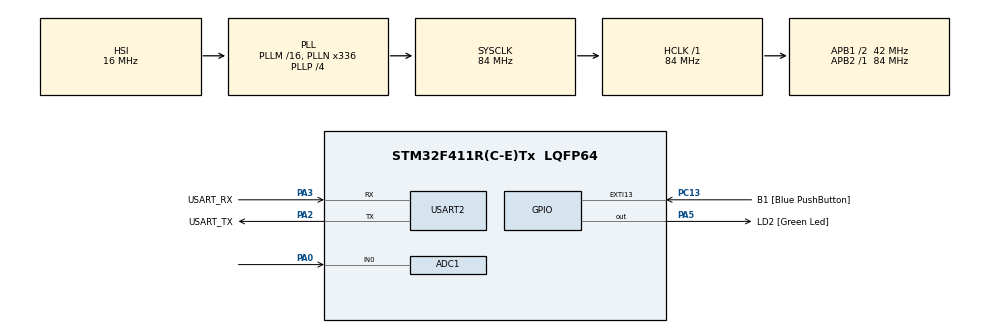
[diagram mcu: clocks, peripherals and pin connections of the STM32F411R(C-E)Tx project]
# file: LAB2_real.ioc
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ADC1.Channel-0\#ChannelRegularConversion=ADC_CHANNEL_0
ADC1.Channel-1\#ChannelRegularConversion=ADC_CHANNEL_TEMPSENSOR
ADC1.ContinuousConvMode=ENABLE
ADC1.DMAContinuousRequests=ENABLE
ADC1.EOCSelection=ADC_EOC_SEQ_CONV
ADC1.NbrOfConversion=2
ADC1.NbrOfConversionFlag=1
ADC1.Rank-0\#ChannelRegularConversion=1
ADC1.Rank-1\#ChannelRegularConversion=2
ADC1.SamplingTime-0\#ChannelRegularConversion=ADC_SAMPLETIME_56CYCLES
ADC1.SamplingTime-1\#ChannelRegularConversion=ADC_SAMPLETIME_56CYCLES
ADC1.ScanConvMode=ENABLE
ADC1.master=1
Dma.ADC1.0.Direction=DMA_PERIPH_TO_MEMORY
Dma.ADC1.0.FIFOMode=DMA_FIFOMODE_DISABLE
Dma.ADC1.0.Instance=DMA2_Stream0
Dma.ADC1.0.MemDataAlignment=DMA_MDATAALIGN_HALFWORD
Dma.ADC1.0.MemInc=DMA_MINC_ENABLE
Dma.ADC1.0.Mode=DMA_CIRCULAR
Dma.ADC1.0.PeriphDataAlignment=DMA_PDATAALIGN_HALFWORD
Dma.ADC1.0.PeriphInc=DMA_PINC_DISABLE
Dma.ADC1.0.Priority=DMA_PRIORITY_LOW
Dma.Request0=ADC1
Mcu.Family=STM32F4
Mcu.Name=STM32F411R(C-E)Tx
Mcu.Package=LQFP64
NVIC.ADC_IRQn=true\:0\:0\:false\:false\:true\:true\:true\:true
NVIC.DMA2_Stream0_IRQn=true\:0\:0\:false\:false\:true\:false\:true\:true
NVIC.EXTI15_10_IRQn=true\:0\:0\:false\:false\:true\:true\:true\:true
NVIC.PriorityGroup=NVIC_PRIORITYGROUP_0
PA0-WKUP.Signal=ADCx_IN0
PA13.GPIO_Label=TMS
PA13.Mode=Serial_Wire
PA13.Signal=SYS_JTMS-SWDIO
PA14.GPIO_Label=TCK
PA14.Mode=Serial_Wire
PA14.Signal=SYS_JTCK-SWCLK
PA2.GPIO_Label=USART_TX
PA2.Mode=Asynchronous
PA2.Signal=USART2_TX
PA3.GPIO_Label=USART_RX
PA3.Mode=Asynchronous
PA3.Signal=USART2_RX
PA5.GPIO_Label=LD2 [Green Led]
PA5.Signal=GPIO_Output
PB3.GPIO_Label=SWO
PB3.Signal=SYS_JTDO-SWO
PC13-ANTI_TAMP.GPIO_Label=B1 [Blue PushButton]
PC13-ANTI_TAMP.GPIO_ModeDefaultEXTI=GPIO_MODE_IT_FALLING
PC13-ANTI_TAMP.Signal=GPXTI13
PC14-OSC32_IN.Mode=LSE-External-Oscillator
PC14-OSC32_IN.Signal=RCC_OSC32_IN
PC15-OSC32_OUT.Mode=LSE-External-Oscillator
PC15-OSC32_OUT.Signal=RCC_OSC32_OUT
PH0\ -\ OSC_IN.Mode=HSE-External-Clock-Source
PH0\ -\ OSC_IN.Signal=RCC_OSC_IN
PH1\ -\ OSC_OUT.Mode=HSE-External-Clock-Source
PH1\ -\ OSC_OUT.Signal=RCC_OSC_OUT
ProjectManager.HeapSize=0x200
ProjectManager.StackSize=0x400
ProjectManager.TargetToolchain=STM32CubeIDE
RCC.48MHZClocksFreq_Value=84000000
RCC.AHBFreq_Value=84000000
RCC.APB1CLKDivider=RCC_HCLK_DIV2
RCC.APB1Freq_Value=42000000
RCC.APB1TimFreq_Value=84000000
RCC.APB2Freq_Value=84000000
RCC.APB2TimFreq_Value=84000000
RCC.CortexFreq_Value=84000000
RCC.FLatency-AdvancedSettings=FLASH_LATENCY_2
RCC.HCLKFreq_Value=84000000
RCC.HSE_VALUE=8000000
RCC.HSI_VALUE=16000000
RCC.PLLN=336
RCC.PLLP=RCC_PLLP_DIV4
RCC.SYSCLKFreq_VALUE=84000000
RCC.SYSCLKSource=RCC_SYSCLKSOURCE_PLLCLK
RCC.VCOOutputFreq_Value=336000000
SH.ADCx_IN0.0=ADC1_IN0,IN0
USART2.VirtualMode=VM_ASYNC
VP_ADC1_TempSens_Input.Mode=IN-TempSens
board=NUCLEO-F411RE

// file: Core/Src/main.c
/* USER CODE BEGIN Header */
/**
  ******************************************************************************
  * @file           : main.c
  * @brief          : Main program body
  ******************************************************************************
  * @attention
  *
  * Copyright (c) 2023 STMicroelectronics.
  * All rights reserved.
  *
  * This software is licensed under terms that can be found in the LICENSE file
  * in the root directory of this software component.
  * If no LICENSE file comes with this software, it is provided AS-IS.
  *
  ******************************************************************************
  */
/* USER CODE END Header */
#include "main.h"

ADC_HandleTypeDef hadc1;
DMA_HandleTypeDef hdma_adc1;

UART_HandleTypeDef huart2;

/* USER CODE BEGIN PV */
uint16_t adcRawData[20];
uint16_t bitV = 0;
uint16_t bitT = 0;
uint16_t Vin25 = 0;
uint16_t Vin50 = 0;
uint16_t K = 0;
uint16_t C = 0;
uint16_t GetVSense = 0;
/* USER CODE END PV */

void SystemClock_Config(void);
static void MX_GPIO_Init(void);
static void MX_DMA_Init(void);
static void MX_USART2_UART_Init(void);
static void MX_ADC1_Init(void);
/* USER CODE BEGIN PFP */
void VoltageConverter();
void TemperatureConverter();
/* USER CODE END PFP */

int main(void)
{

  /* MCU Configuration--------------------------------------------------------*/

  /* Reset of all peripherals, Initializes the Flash interface and the Systick. */
  HAL_Init();

  /* Configure the system clock */
  SystemClock_Config();

  /* Initialize all configured peripherals */
  MX_GPIO_Init();
  MX_DMA_Init();
  MX_USART2_UART_Init();
  MX_ADC1_Init();
  /* USER CODE BEGIN 2 */
  HAL_ADC_Start_DMA(&hadc1, adcRawData, 20);
  /* USER CODE END 2 */

  /* Infinite loop */
  while (1)
  {

    /* USER CODE BEGIN 3 */
		static uint32_t timestamp = 0;
		if (HAL_GetTick() >= timestamp) {
			timestamp = HAL_GetTick() + 1000;
			VoltageConverter();
			TemperatureConverter();

		}
	}
  /* USER CODE END 3 */
}

void SystemClock_Config(void)
{
  RCC_OscInitTypeDef RCC_OscInitStruct = {0};
  RCC_ClkInitTypeDef RCC_ClkInitStruct = {0};

  /** Configure the main internal regulator output voltage
  */
  __HAL_RCC_PWR_CLK_ENABLE();
  __HAL_PWR_VOLTAGESCALING_CONFIG(PWR_REGULATOR_VOLTAGE_SCALE1);

  /** Initializes the RCC Oscillators according to the specified parameters
  * in the RCC_OscInitTypeDef structure.
  */
  RCC_OscInitStruct.OscillatorType = RCC_OSCILLATORTYPE_HSI;
  RCC_OscInitStruct.HSIState = RCC_HSI_ON;
  RCC_OscInitStruct.HSICalibrationValue = RCC_HSICALIBRATION_DEFAULT;
  RCC_OscInitStruct.PLL.PLLState = RCC_PLL_ON;
  RCC_OscInitStruct.PLL.PLLSource = RCC_PLLSOURCE_HSI;
  RCC_OscInitStruct.PLL.PLLM = 16;
  RCC_OscInitStruct.PLL.PLLN = 336;
  RCC_OscInitStruct.PLL.PLLP = RCC_PLLP_DIV4;
  RCC_OscInitStruct.PLL.PLLQ = 4;
  if (HAL_RCC_OscConfig(&RCC_OscInitStruct) != HAL_OK)
  {
    Error_Handler();
  }

  /** Initializes the CPU, AHB and APB buses clocks
  */
  RCC_ClkInitStruct.ClockType = RCC_CLOCKTYPE_HCLK|RCC_CLOCKTYPE_SYSCLK
                              |RCC_CLOCKTYPE_PCLK1|RCC_CLOCKTYPE_PCLK2;
  RCC_ClkInitStruct.SYSCLKSource = RCC_SYSCLKSOURCE_PLLCLK;
  RCC_ClkInitStruct.AHBCLKDivider = RCC_SYSCLK_DIV1;
  RCC_ClkInitStruct.APB1CLKDivider = RCC_HCLK_DIV2;
  RCC_ClkInitStruct.APB2CLKDivider = RCC_HCLK_DIV1;

  if (HAL_RCC_ClockConfig(&RCC_ClkInitStruct, FLASH_LATENCY_2) != HAL_OK)
  {
    Error_Handler();
  }
}

static void MX_ADC1_Init(void)
{

  ADC_ChannelConfTypeDef sConfig = {0};

  /** Configure the global features of the ADC (Clock, Resolution, Data Alignment and number of conversion)
  */
  hadc1.Instance = ADC1;
  hadc1.Init.ClockPrescaler = ADC_CLOCK_SYNC_PCLK_DIV4;
  hadc1.Init.Resolution = ADC_RESOLUTION_12B;
  hadc1.Init.ScanConvMode = ENABLE;
  hadc1.Init.ContinuousConvMode = ENABLE;
  hadc1.Init.DiscontinuousConvMode = DISABLE;
  hadc1.Init.ExternalTrigConvEdge = ADC_EXTERNALTRIGCONVEDGE_NONE;
  hadc1.Init.ExternalTrigConv = ADC_SOFTWARE_START;
  hadc1.Init.DataAlign = ADC_DATAALIGN_RIGHT;
  hadc1.Init.NbrOfConversion = 2;
  hadc1.Init.DMAContinuousRequests = ENABLE;
  hadc1.Init.EOCSelection = ADC_EOC_SINGLE_CONV;
  if (HAL_ADC_Init(&hadc1) != HAL_OK)
  {
    Error_Handler();
  }

  /** Configure for the selected ADC regular channel its corresponding rank in the sequencer and its sample time.
  */
  sConfig.Channel = ADC_CHANNEL_0;
  sConfig.Rank = 1;
  sConfig.SamplingTime = ADC_SAMPLETIME_56CYCLES;
  if (HAL_ADC_ConfigChannel(&hadc1, &sConfig) != HAL_OK)
  {
    Error_Handler();
  }

  /** Configure for the selected ADC regular channel its corresponding rank in the sequencer and its sample time.
  */
  sConfig.Channel = ADC_CHANNEL_TEMPSENSOR;
  sConfig.Rank = 2;
  if (HAL_ADC_ConfigChannel(&hadc1, &sConfig) != HAL_OK)
  {
    Error_Handler();
  }

}

static void MX_USART2_UART_Init(void)
{

  huart2.Instance = USART2;
  huart2.Init.BaudRate = 115200;
  huart2.Init.WordLength = UART_WORDLENGTH_8B;
  huart2.Init.StopBits = UART_STOPBITS_1;
  huart2.Init.Parity = UART_PARITY_NONE;
  huart2.Init.Mode = UART_MODE_TX_RX;
  huart2.Init.HwFlowCtl = UART_HWCONTROL_NONE;
  huart2.Init.OverSampling = UART_OVERSAMPLING_16;
  if (HAL_UART_Init(&huart2) != HAL_OK)
  {
    Error_Handler();
  }

}

static void MX_DMA_Init(void)
{

  /* DMA controller clock enable */
  __HAL_RCC_DMA2_CLK_ENABLE();

  /* DMA interrupt init */
  /* DMA2_Stream0_IRQn interrupt configuration */
  HAL_NVIC_SetPriority(DMA2_Stream0_IRQn, 0, 0);
  HAL_NVIC_EnableIRQ(DMA2_Stream0_IRQn);

}

static void MX_GPIO_Init(void)
{
  GPIO_InitTypeDef GPIO_InitStruct = {0};

  /* GPIO Ports Clock Enable */
  __HAL_RCC_GPIOC_CLK_ENABLE();
  __HAL_RCC_GPIOH_CLK_ENABLE();
  __HAL_RCC_GPIOA_CLK_ENABLE();
  __HAL_RCC_GPIOB_CLK_ENABLE();

  /*Configure GPIO pin Output Level */
  HAL_GPIO_WritePin(LD2_GPIO_Port, LD2_Pin, GPIO_PIN_RESET);

  /*Configure GPIO pin : B1_Pin */
  GPIO_InitStruct.Pin = B1_Pin;
  GPIO_InitStruct.Mode = GPIO_MODE_IT_FALLING;
  GPIO_InitStruct.Pull = GPIO_NOPULL;
  HAL_GPIO_Init(B1_GPIO_Port, &GPIO_InitStruct);

  /*Configure GPIO pin : LD2_Pin */
  GPIO_InitStruct.Pin = LD2_Pin;
  GPIO_InitStruct.Mode = GPIO_MODE_OUTPUT_PP;
  GPIO_InitStruct.Pull = GPIO_NOPULL;
  GPIO_InitStruct.Speed = GPIO_SPEED_FREQ_LOW;
  HAL_GPIO_Init(LD2_GPIO_Port, &GPIO_InitStruct);

  /* EXTI interrupt init*/
  HAL_NVIC_SetPriority(EXTI15_10_IRQn, 0, 0);
  HAL_NVIC_EnableIRQ(EXTI15_10_IRQn);

}

/* USER CODE BEGIN 4 */

void VoltageConverter() {
	register int i, GetV;
	for (i = 0; i < 20; i += 2) {
		//For get or keep value in to array[20] and i=0 or i=1 for switch position to keep V and T
		//control keep value by rank [V,T,V,T ...]
		GetV += adcRawData[i];
	}
	bitV = GetV / 10; //average ADC voltage bit
	Vin25 = bitV * 0.8; //change bit to voltage //by *3.3/4095==0.8mv==0.0008v //output voltage from resistor
	Vin50 = bitV * 1.6; //change bit to voltage and gain for 5V by *2
}

void TemperatureConverter() {
	register int i, GetT;
	for (i = 1; i < 20; i += 2) {
		GetT += adcRawData[i];
	}
	bitT = GetT / 10;

	GetVSense = (bitT*0.8); //change bit to voltage
	C = ((GetVSense-760)/2.5)+25;
	K = C + 273.15;
}
/* USER CODE END 4 */

void Error_Handler(void)
{
  __disable_irq();
  while (1)
  {
  }
}
